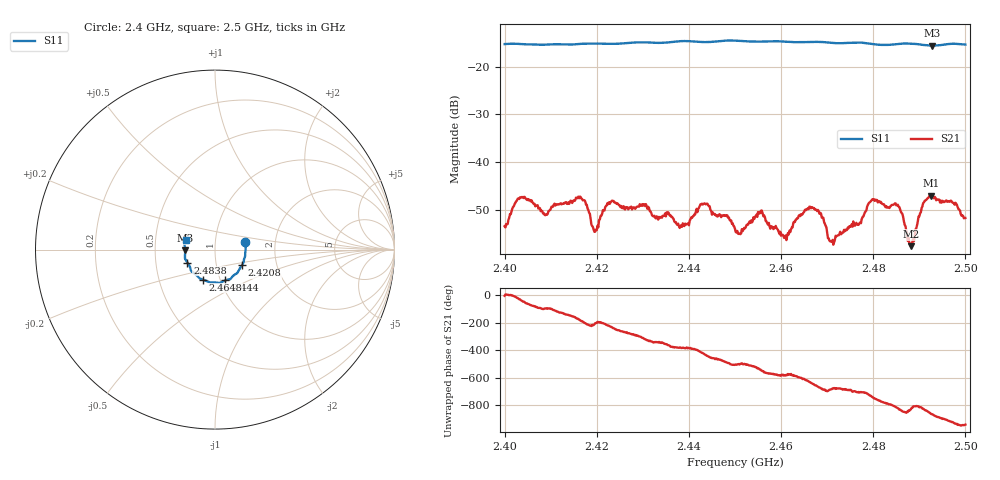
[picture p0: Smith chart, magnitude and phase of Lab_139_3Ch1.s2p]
# Hz S RI R 50
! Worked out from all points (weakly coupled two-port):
!   601 points, 2.4 GHz to 2.5 GHz, reference 50 ohm
!   highest |S21| = -47.07 dB at 2.4925 GHz (marker M1); lowest = -57.6 dB at 2.4882 GHz (marker M2)
!   lowest |S11| = -15.6 dB at 2.4928 GHz (marker M3), VSWR 1.40, Z = 35.8 - j0.342 ohm
!   |S11| at or under -10 dB: start of sweep to end of sweep
!   S12 and S22 are empty: the file has one direction only
!   S11 on the Smith chart (normalised r, x): 2.4 GHz: 1.40, +0.12; 2.4208 GHz: 1.33, -0.24; 2.444 GHz: 1.06, -0.37; 2.4648 GHz: 0.83, -0.29; 2.4838 GHz: 0.73, -0.11; 2.5 GHz: 0.72, +0.08
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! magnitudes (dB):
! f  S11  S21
! 2.4 GHz  -15.3  -53.5
! 2.4033 GHz  -15.3  -47.4
! 2.4088 GHz  -15.4  -51.1
! 2.4167 GHz  -15.2  -47.7
! 2.4195 GHz  -15.2  -54.6
! 2.4208 GHz  -15.2  -51.3
! 2.4235 GHz  -15.2  -48.2
! 2.4333 GHz  -15.0  -52.1
! 2.444 GHz  -14.9  -48.7
! 2.45 GHz  -14.5  -54.0
! 2.4555 GHz  -14.8  -50.7
! 2.4608 GHz  -14.8  -55.6
! 2.4648 GHz  -14.9  -50.6
! 2.4667 GHz  -14.8  -49.4
! 2.471 GHz  -15.0  -56.7
! 2.4797 GHz  -15.2  -48.0
! 2.4833 GHz  -15.4  -49.5
! 2.4838 GHz  -15.4  -49.2
! 2.4882 GHz  -15.2  -57.6
! 2.4925 GHz  -15.6  -47.1
! 2.4928 GHz  -15.6  -47.2
! 2.5 GHz  -15.4  -51.7
